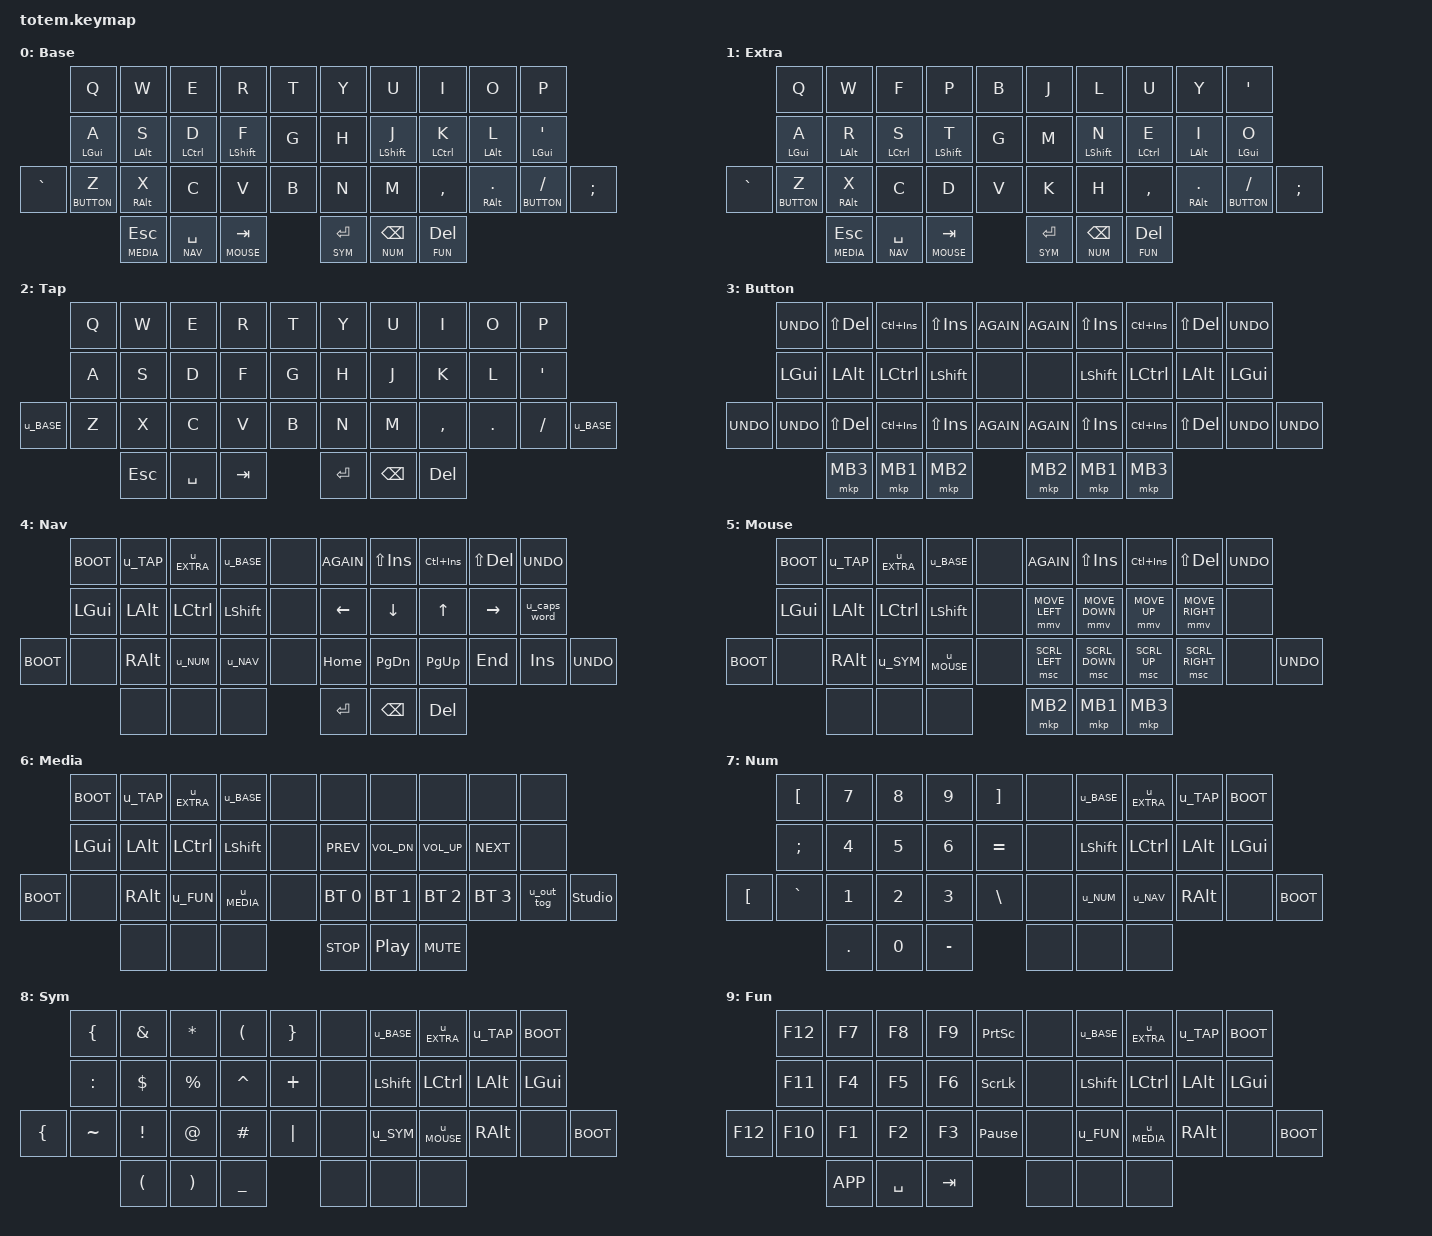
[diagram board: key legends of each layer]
// Miryoku ZMK - QWERTY + VI Nav + Default Layers
// Ported from miryoku macro system to standalone keymap for Totem (38 keys)
//
// Layer indices:
//   0=BASE  1=EXTRA  2=TAP  3=BUTTON  4=NAV  5=MOUSE  6=MEDIA  7=NUM  8=SYM  9=FUN

#include <behaviors.dtsi>
#include <dt-bindings/zmk/bt.h>
#include <dt-bindings/zmk/keys.h>
#include <dt-bindings/zmk/mouse.h>
#include <dt-bindings/zmk/outputs.h>

#define BASE   0
#define EXTRA  1
#define TAP    2
#define BUTTON 3
#define NAV    4
#define MOUSE  5
#define MEDIA  6
#define NUM    7
#define SYM    8
#define FUN    9
#define BOOT   bootloader

&mmv {
    acceleration-exponent = <1>;
    time-to-max-speed-ms = <300>;
    delay-ms = <0>;
};

/ {
    behaviors {
        u_mt: u_mt {
            compatible = "zmk,behavior-hold-tap";
            #binding-cells = <2>;
            tapping-term-ms = <200>;
            flavor = "tap-preferred";
            bindings = <&kp>, <&kp>;
        };

        u_lt: u_lt {
            compatible = "zmk,behavior-hold-tap";
            #binding-cells = <2>;
            tapping-term-ms = <200>;
            flavor = "tap-preferred";
            bindings = <&mo>, <&kp>;
        };

        u_BASE: u_BASE {
            compatible = "zmk,behavior-tap-dance";
            #binding-cells = <0>;
            tapping-term-ms = <200>;
            bindings = <&none>, <&to BASE>;
        };

        u_EXTRA: u_EXTRA {
            compatible = "zmk,behavior-tap-dance";
            #binding-cells = <0>;
            tapping-term-ms = <200>;
            bindings = <&none>, <&to EXTRA>;
        };

        u_TAP: u_TAP {
            compatible = "zmk,behavior-tap-dance";
            #binding-cells = <0>;
            tapping-term-ms = <200>;
            bindings = <&none>, <&to TAP>;
        };

        u_NAV: u_NAV {
            compatible = "zmk,behavior-tap-dance";
            #binding-cells = <0>;
            tapping-term-ms = <200>;
            bindings = <&none>, <&to NAV>;
        };

        u_MOUSE: u_MOUSE {
            compatible = "zmk,behavior-tap-dance";
            #binding-cells = <0>;
            tapping-term-ms = <200>;
            bindings = <&none>, <&to MOUSE>;
        };

        u_MEDIA: u_MEDIA {
            compatible = "zmk,behavior-tap-dance";
            #binding-cells = <0>;
            tapping-term-ms = <200>;
            bindings = <&none>, <&to MEDIA>;
        };

        u_NUM: u_NUM {
            compatible = "zmk,behavior-tap-dance";
            #binding-cells = <0>;
            tapping-term-ms = <200>;
            bindings = <&none>, <&to NUM>;
        };

        u_SYM: u_SYM {
            compatible = "zmk,behavior-tap-dance";
            #binding-cells = <0>;
            tapping-term-ms = <200>;
            bindings = <&none>, <&to SYM>;
        };

        u_FUN: u_FUN {
            compatible = "zmk,behavior-tap-dance";
            #binding-cells = <0>;
            tapping-term-ms = <200>;
            bindings = <&none>, <&to FUN>;
        };

        u_caps_word: u_caps_word {
            compatible = "zmk,behavior-mod-morph";
            #binding-cells = <0>;
            bindings = <&caps_word>, <&kp CAPS>;
            mods = <(MOD_LSFT|MOD_RSFT)>;
        };

        u_out_tog: u_out_tog {
            compatible = "zmk,behavior-mod-morph";
            #binding-cells = <0>;
            bindings = <&out OUT_TOG>, <&out OUT_USB>;
            mods = <(MOD_LSFT|MOD_RSFT)>;
        };

    };

    keymap {
        compatible = "zmk,keymap";

        base_layer {
            display-name = "Base";
            bindings = <
                &kp Q            &kp W            &kp E            &kp R            &kp T              &kp Y            &kp U            &kp I            &kp O            &kp P
                &u_mt LGUI A     &u_mt LALT S     &u_mt LCTRL D    &u_mt LSHFT F    &kp G              &kp H            &u_mt LSHFT J    &u_mt LCTRL K    &u_mt LALT L     &u_mt LGUI SQT
    &kp GRAVE   &u_lt BUTTON Z   &u_mt RALT X     &kp C            &kp V            &kp B              &kp N            &kp M            &kp COMMA        &u_mt RALT DOT   &u_lt BUTTON SLASH  &kp SEMI
                                 &u_lt MEDIA ESC  &u_lt NAV SPACE  &u_lt MOUSE TAB                     &u_lt SYM RET    &u_lt NUM BSPC   &u_lt FUN DEL
            >;
        };

        extra_layer {
            display-name = "Extra";
            bindings = <
                &kp Q            &kp W            &kp F            &kp P            &kp B              &kp J            &kp L            &kp U            &kp Y            &kp SQT
                &u_mt LGUI A     &u_mt LALT R     &u_mt LCTRL S    &u_mt LSHFT T    &kp G              &kp M            &u_mt LSHFT N    &u_mt LCTRL E    &u_mt LALT I     &u_mt LGUI O
    &kp GRAVE   &u_lt BUTTON Z   &u_mt RALT X     &kp C            &kp D            &kp V              &kp K            &kp H            &kp COMMA        &u_mt RALT DOT   &u_lt BUTTON SLASH  &kp SEMI
                                 &u_lt MEDIA ESC  &u_lt NAV SPACE  &u_lt MOUSE TAB                     &u_lt SYM RET    &u_lt NUM BSPC   &u_lt FUN DEL >;
        };

        tap_layer {
            display-name = "Tap";
            bindings = <
                &kp Q            &kp W            &kp E            &kp R            &kp T              &kp Y            &kp U            &kp I            &kp O            &kp P
                &kp A            &kp S            &kp D            &kp F            &kp G              &kp H            &kp J            &kp K            &kp L            &kp SQT
    &u_BASE     &kp Z            &kp X            &kp C            &kp V            &kp B              &kp N            &kp M            &kp COMMA        &kp DOT          &kp SLASH           &u_BASE
                                 &kp ESC          &kp SPACE        &kp TAB                             &kp RET          &kp BSPC         &kp DEL
            >;
        };

        button_layer {
            display-name = "Button";
            bindings = <
                &kp K_UNDO       &kp LS(DEL)      &kp LC(INS)      &kp LS(INS)      &kp K_AGAIN        &kp K_AGAIN      &kp LS(INS)      &kp LC(INS)      &kp LS(DEL)      &kp K_UNDO
                &kp LGUI         &kp LALT         &kp LCTRL        &kp LSHFT        &none              &none            &kp LSHFT        &kp LCTRL        &kp LALT         &kp LGUI
    &kp K_UNDO  &kp K_UNDO       &kp LS(DEL)      &kp LC(INS)      &kp LS(INS)      &kp K_AGAIN        &kp K_AGAIN      &kp LS(INS)      &kp LC(INS)      &kp LS(DEL)      &kp K_UNDO          &kp K_UNDO
                                 &mkp MB3         &mkp MB1         &mkp MB2                            &mkp MB2         &mkp MB1         &mkp MB3
            >;
        };

        nav_layer {
            display-name = "Nav";
            bindings = <
                &BOOT            &u_TAP           &u_EXTRA         &u_BASE          &none              &kp K_AGAIN      &kp LS(INS)      &kp LC(INS)      &kp LS(DEL)      &kp K_UNDO
                &kp LGUI         &kp LALT         &kp LCTRL        &kp LSHFT        &none              &kp LEFT         &kp DOWN         &kp UP           &kp RIGHT        &u_caps_word
    &BOOT       &none            &kp RALT         &u_NUM           &u_NAV           &none              &kp HOME         &kp PG_DN        &kp PG_UP        &kp END          &kp INS             &kp K_UNDO
                                 &none            &none            &none                               &kp RET          &kp BSPC         &kp DEL
            >;
        };

        mouse_layer {
            display-name = "Mouse";
            bindings = <
                &BOOT            &u_TAP           &u_EXTRA         &u_BASE          &none              &kp K_AGAIN      &kp LS(INS)      &kp LC(INS)      &kp LS(DEL)      &kp K_UNDO
                &kp LGUI         &kp LALT         &kp LCTRL        &kp LSHFT        &none              &mmv MOVE_LEFT   &mmv MOVE_DOWN   &mmv MOVE_UP     &mmv MOVE_RIGHT  &none
    &BOOT       &none            &kp RALT         &u_SYM           &u_MOUSE         &none              &msc SCRL_LEFT   &msc SCRL_DOWN   &msc SCRL_UP     &msc SCRL_RIGHT  &none               &kp K_UNDO
                                 &none            &none            &none                               &mkp MB2         &mkp MB1         &mkp MB3
            >;
        };

        media_layer {
            display-name = "Media";
            bindings = <
                &BOOT            &u_TAP           &u_EXTRA         &u_BASE          &none              &none            &none            &none            &none            &none
                &kp LGUI         &kp LALT         &kp LCTRL        &kp LSHFT        &none              &kp C_PREV       &kp C_VOL_DN     &kp C_VOL_UP     &kp C_NEXT       &none
    &BOOT       &none            &kp RALT         &u_FUN           &u_MEDIA         &none              &bt BT_SEL 0     &bt BT_SEL 1     &bt BT_SEL 2     &bt BT_SEL 3     &u_out_tog          &studio_unlock
                                 &none            &none            &none                               &kp C_STOP       &kp C_PP         &kp C_MUTE
            >;
        };

        num_layer {
            display-name = "Num";
            bindings = <
                &kp LBKT         &kp N7           &kp N8           &kp N9           &kp RBKT           &none            &u_BASE          &u_EXTRA         &u_TAP           &BOOT
                &kp SEMI         &kp N4           &kp N5           &kp N6           &kp EQUAL          &none            &kp LSHFT        &kp LCTRL        &kp LALT         &kp LGUI
    &kp LBKT    &kp GRAVE        &kp N1           &kp N2           &kp N3           &kp BSLH           &none            &u_NUM           &u_NAV           &kp RALT         &none               &BOOT
                                 &kp DOT          &kp N0           &kp MINUS                           &none            &none            &none
            >;
        };

        sym_layer {
            display-name = "Sym";
            bindings = <
                &kp LBRC         &kp AMPS         &kp ASTRK        &kp LPAR         &kp RBRC           &none            &u_BASE          &u_EXTRA         &u_TAP           &BOOT
                &kp COLON        &kp DLLR         &kp PRCNT        &kp CARET        &kp PLUS           &none            &kp LSHFT        &kp LCTRL        &kp LALT         &kp LGUI
    &kp LBRC    &kp TILDE        &kp EXCL         &kp AT           &kp HASH         &kp PIPE           &none            &u_SYM           &u_MOUSE         &kp RALT         &none               &BOOT
                                 &kp LPAR         &kp RPAR         &kp UNDER                           &none            &none            &none
            >;
        };

        fun_layer {
            display-name = "Fun";
            bindings = <
                &kp F12          &kp F7           &kp F8           &kp F9           &kp PSCRN          &none            &u_BASE          &u_EXTRA         &u_TAP           &BOOT
                &kp F11          &kp F4           &kp F5           &kp F6           &kp SLCK           &none            &kp LSHFT        &kp LCTRL        &kp LALT         &kp LGUI
    &kp F12     &kp F10          &kp F1           &kp F2           &kp F3           &kp PAUSE_BREAK    &none            &u_FUN           &u_MEDIA         &kp RALT         &none               &BOOT
                                 &kp K_APP        &kp SPACE        &kp TAB                             &none            &none            &none
            >;
        };
    };
};
